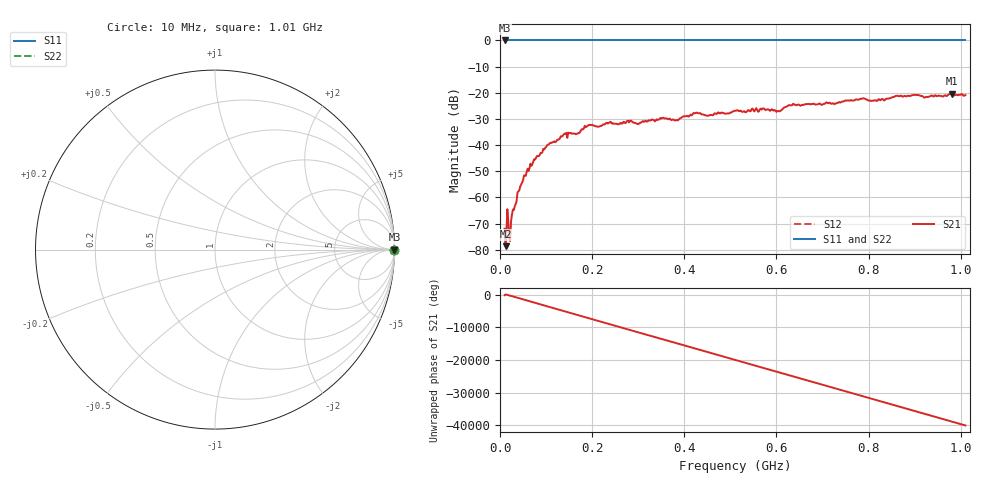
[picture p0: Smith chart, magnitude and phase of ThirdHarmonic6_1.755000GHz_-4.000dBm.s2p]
! 8/16/2025 9:10:26 PM
! C:\ANRITSUVNA\TEMP\TEMP.S2P
! CHANNEL.1
! TR.MEASUREMENT
! RAW.DATA
! RF.CORRECTION.OFF
! AVERAGING.OFF
! IF.BANDWIDTH: 5KHZ
! SWEEPTYPE:  FREQ.SWEEP(Linear)
! Reference Plane Port Info
! PORT:  PORT1  PORT2
! DISTANCE:  0  m  0  m
! TIME:  0  s  0  s
! PHASE.OFFSET:  0  deg.  0  deg.
! LOSS:  0  dB  0  dB
! REF.LOSS:  0  dB  0  dB
! REF.FREQ:  0  Hz  0  Hz
! Power Info
! POWER:  -20  dBm  -20  dBm
! EFF.POWER:  -20  dBm  -20  dBm
! SOURCE.ATTEN:  0  dB  0  dB
! TEST.ATTEN:  0  dB  0  dB
# GHZ S RI R 50.0
! FREQ.GHZ  S11RE  S11IM  S21RE  S21IM  S12RE  S12IM  S22RE  S22IM
!; PortSelection: Port_12
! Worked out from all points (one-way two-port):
!   501 points, 10 MHz to 1.01 GHz, reference 50 ohm
!   highest |S21| = -20.35 dB at 980 MHz (marker M1); lowest = -78.6 dB at 12 MHz (marker M2)
!   lowest |S11| = 0.0 dB at 10 MHz (marker M3)
!   |S11| at or under -10 dB: nowhere
!   |S22| runs from 0.0 to 0.0 dB; largest |S21 - S12| = 1.1
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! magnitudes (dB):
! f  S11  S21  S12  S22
! 10 MHz  0.0  -72.0  0.0  0.0
! 12 MHz  0.0  -78.6  0.0  0.0
! 22 MHz  0.0  -76.7  0.0  0.0
! 28 MHz  0.0  -64.6  0.0  0.0
! 42 MHz  0.0  -57.2  0.0  0.0
! 56 MHz  0.0  -51.8  0.0  0.0
! 78 MHz  0.0  -45.0  0.0  0.0
! 106 MHz  0.0  -39.7  0.0  0.0
! 140 MHz  0.0  -35.7  0.0  0.0
! 178 MHz  0.0  -33.9  0.0  0.0
! 196 MHz  0.0  -32.3  0.0  0.0
! 344 MHz  0.0  -30.3  0.0  0.0
! 382 MHz  0.0  -30.5  0.0  0.0
! 424 MHz  0.0  -27.8  0.0  0.0
! 450 MHz  0.0  -28.7  0.0  0.0
! 510 MHz  0.0  -26.9  0.0  0.0
! 604 MHz  0.0  -26.9  0.0  0.0
! 632 MHz  0.0  -24.8  0.0  0.0
! 678 MHz  0.0  -24.3  0.0  0.0
! 844 MHz  0.0  -22.2  0.0  0.0
! 980 MHz  0.0  -20.3  0.0  0.0
! 1.01 GHz  0.0  -20.9  0.0  0.0
